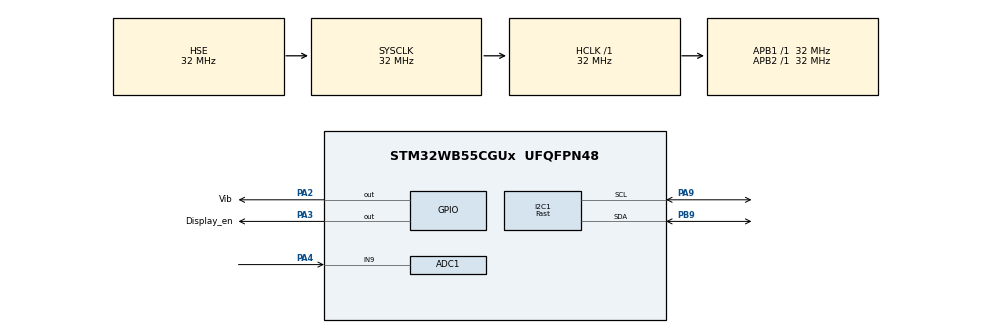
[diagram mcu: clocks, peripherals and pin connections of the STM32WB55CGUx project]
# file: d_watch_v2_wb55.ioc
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ADC1.Channel-0\#ChannelRegularConversion=ADC_CHANNEL_9
ADC1.NbrOfConversionFlag=1
ADC1.OffsetNumber-0\#ChannelRegularConversion=ADC_OFFSET_NONE
ADC1.Rank-0\#ChannelRegularConversion=1
ADC1.SamplingTime-0\#ChannelRegularConversion=ADC_SAMPLETIME_2CYCLES_5
ADC1.master=1
FREERTOS.Tasks01=defaultTask,24,128,StartDefaultTask,Default,NULL,Dynamic,NULL,NULL;SensorsRead,24,512,SensorsRead_Task,Default,NULL,Dynamic,NULL,NULL;ScanBtn,40,256,ScanBtn_Task,Default,NULL,Dynamic,NULL,NULL;Main,8,512,Main_Task,Default,NULL,Dynamic,NULL,NULL
FREERTOS.configTOTAL_HEAP_SIZE=8092
FREERTOS.configUSE_NEWLIB_REENTRANT=1
I2C1.Analog_Filter=I2C_ANALOGFILTER_DISABLE
I2C1.I2C_Speed_Mode=I2C_Fast
I2C1.Timing=0x00301139
IWDG.Prescaler=IWDG_PRESCALER_64
Mcu.Family=STM32WB
Mcu.Name=STM32WB55CGUx
Mcu.Package=UFQFPN48
NVIC.PriorityGroup=NVIC_PRIORITYGROUP_4
NVIC.TIM1_UP_TIM16_IRQn=true\:15\:0\:false\:false\:true\:false\:false\:true\:true
NVIC.TimeBase=TIM1_UP_TIM16_IRQn
NVIC.TimeBaseIP=TIM1
OSC_IN.Mode=HSE-External-Oscillator
OSC_IN.Signal=RCC_OSC_IN
OSC_OUT.Mode=HSE-External-Oscillator
OSC_OUT.Signal=RCC_OSC_OUT
PA13.Mode=Serial_Wire
PA13.Signal=SYS_JTMS-SWDIO
PA14.Mode=Serial_Wire
PA14.Signal=SYS_JTCK-SWCLK
PA2.GPIO_Label=Vib
PA2.Signal=GPIO_Output
PA3.GPIO_Label=Display_en
PA3.Signal=GPIO_Output
PA4.Signal=ADCx_IN9
PA9.Mode=I2C
PA9.Signal=I2C1_SCL
PB9.Mode=I2C
PB9.Signal=I2C1_SDA
PC14-OSC32_IN.Mode=LSE-External-Oscillator
PC14-OSC32_IN.Signal=RCC_OSC32_IN
PC15-OSC32_OUT.Mode=LSE-External-Oscillator
PC15-OSC32_OUT.Signal=RCC_OSC32_OUT
ProjectManager.HeapSize=0x200
ProjectManager.StackSize=0x400
ProjectManager.TargetToolchain=STM32CubeIDE
RCC.ADCFreq_Value=56000000
RCC.AHBFreq_Value=32000000
RCC.APB1Freq_Value=32000000
RCC.APB1TimFreq_Value=32000000
RCC.APB2Freq_Value=32000000
RCC.APB2TimFreq_Value=32000000
RCC.APB3Freq_Value=16000000
RCC.CortexFreq_Value=32000000
RCC.HCLKFreq_Value=32000000
RCC.HSE_VALUE=32000000
RCC.HSI48_VALUE=48000000
RCC.HSI_VALUE=16000000
RCC.PLLM=RCC_PLLM_DIV4
RCC.PLLSAI1N=14
RCC.PLLSourceVirtual=RCC_PLLSOURCE_HSE
RCC.RFWKPClockSelection=RCC_RFWKPCLKSOURCE_LSE
RCC.RTCClockSelection=RCC_RTCCLKSOURCE_LSE
RCC.SMPSCLockSelectionVirtual=RCC_SMPSCLKSOURCE_HSE
RCC.SMPSDivider=4
RCC.SYSCLKFreq_VALUE=32000000
RCC.SYSCLKSource=RCC_SYSCLKSOURCE_HSE
RCC.USBFreq_Value=56000000
RCC.VCOOutputFreq_Value=64000000
SH.ADCx_IN9.0=ADC1_IN9,IN9-Single-Ended
VP_FREERTOS_VS_CMSIS_V2.Mode=CMSIS_V2
VP_IWDG_VS_IWDG.Mode=IWDG_Activate
VP_RTC_VS_RTC_Activate.Mode=RTC_Enabled
VP_SYS_VS_tim1.Mode=TIM1
board=custom

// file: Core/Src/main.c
/* USER CODE BEGIN Header */
/**
  ******************************************************************************
  * @file           : main.c
  * @brief          : Main program body
  ******************************************************************************
  * @attention
  *
  * Copyright (c) 2023 STMicroelectronics.
  * All rights reserved.
  *
  * This software is licensed under terms that can be found in the LICENSE file
  * in the root directory of this software component.
  * If no LICENSE file comes with this software, it is provided AS-IS.
  *
  ******************************************************************************
  */
/* USER CODE END Header */
#include "main.h"
#include "cmsis_os.h"

/* USER CODE BEGIN Includes */
#include "MPR121.h"
#include "lsm303c.h"
#include "ssd1306.h"
#include "ms5837_lib.h"
#include "math.h"
#include "stdio.h"
#include "string.h"
/* USER CODE END Includes */

/* USER CODE BEGIN PTD */
#define BTN_UP		5
#define BTN_DOWN	4
#define BTN_MENU	10
#define BTN_EXIT	3

#define RESET_TIME	20

#define UNDER_WATER_THRESHOLD	0.2

/* Definitions of environment analog values */
  /* Value of analog reference voltage (Vref+), connected to analog voltage   */
  /* supply Vdda (unit: mV).                                                  */
  #define VDDA_APPLI                       (3290UL)
/* USER CODE END PTD */

ADC_HandleTypeDef hadc1;

I2C_HandleTypeDef hi2c1;

IWDG_HandleTypeDef hiwdg;

RTC_HandleTypeDef hrtc;

/* Definitions for defaultTask */
osThreadId_t defaultTaskHandle;
const osThreadAttr_t defaultTask_attributes = {
  .name = "defaultTask",
  .priority = (osPriority_t) osPriorityNormal,
  .stack_size = 128 * 4
};
/* Definitions for SensorsRead */
osThreadId_t SensorsReadHandle;
const osThreadAttr_t SensorsRead_attributes = {
  .name = "SensorsRead",
  .priority = (osPriority_t) osPriorityNormal,
  .stack_size = 512 * 4
};
/* Definitions for ScanBtn */
osThreadId_t ScanBtnHandle;
const osThreadAttr_t ScanBtn_attributes = {
  .name = "ScanBtn",
  .priority = (osPriority_t) osPriorityHigh,
  .stack_size = 256 * 4
};
/* Definitions for Main */
osThreadId_t MainHandle;
const osThreadAttr_t Main_attributes = {
  .name = "Main",
  .priority = (osPriority_t) osPriorityLow,
  .stack_size = 512 * 4
};
/* USER CODE BEGIN PV */
typedef struct {
float lsm303c_chip_tC;
float magneto[3];
float accel[3];
uint16_t azimuth;
char direction[3];
} mag_t;

mag_t mag = {0, {0,0,0}, {0,0,0}, 0};

RTC_TimeTypeDef sfTime;
RTC_DateTypeDef sfDate;
RTC_AlarmTypeDef sAlarm;

float vbat = 0;
uint32_t adc_data = 0;

typedef struct {
bool alarmSet_flag;
bool vibrate_on_flag;
bool sleep_flag;
bool device_on_body;
bool MS5837_is_ok;
bool MAX30102_is_ok;
bool under_water_flag;
bool lsm303_is_ok;
bool end_hrm_measure;
} watch_state_t;

watch_state_t watch_state = {0,0,0,0,0,0,0,0,0};

typedef struct {
float temperature;
float max_temp;
float min_temp;
float pressure;
float depth;
float max_depth;
uint32_t under_water_time;
uint32_t start_time;
uint32_t max_time;
uint32_t dive_counter;
float under_water_threshold;
} water_t;

water_t water = {0,0,0,0,0,0,0,0,0,0,UNDER_WATER_THRESHOLD};

uint16_t mpr121_status = 0;

typedef struct {
	bool UP;
	bool DOWN;
	bool MENU;
	bool EXIT;
}buttons_t;

buttons_t button;

typedef struct {
bool vibro_response;
} watch_setup_t;

watch_setup_t watch_setup = {1};

typedef struct {
uint8_t reset_counter;
uint8_t off_time;
bool off_flag;
uint8_t off_counter;
uint8_t enter_mnu_counter;
uint8_t sleep_counter;
int8_t page;
char buf1[20];
char buf2[20];
} display_t;

display_t display = {0, 40, false, 40, 0, 255, 0};

enum ms5837_status status;

uint8_t sensor_upd_time = 0;
/* USER CODE END PV */

void SystemClock_Config(void);
void PeriphCommonClock_Config(void);
static void MX_GPIO_Init(void);
static void MX_ADC1_Init(void);
static void MX_I2C1_Init(void);
static void MX_RTC_Init(void);
static void MX_IWDG_Init(void);
void StartDefaultTask(void *argument);
void SensorsRead_Task(void *argument);
void ScanBtn_Task(void *argument);
void Main_Task(void *argument);

/* USER CODE BEGIN PFP */
void scan_btn();
void read_ms5837(void);
void Vibrate(uint8_t times);
void display_off(void);
void display_on(void);
void setupTime(bool alarm);
void menu(void);
void show_bat_status(void);
/* USER CODE END PFP */

/* USER CODE BEGIN 0 */

void scan_btn() {
	MPR121_updateAll();
	if (MPR121_isNewTouch(BTN_UP))  {
		if(watch_setup.vibro_response) Vibrate(1);
		button.UP = true;
	}
	else button.UP = false;

	if (MPR121_isNewTouch(BTN_DOWN))  {
		if(watch_setup.vibro_response) Vibrate(1);
		button.DOWN = true;
	}
	else button.DOWN = false;

	if (MPR121_isNewTouch(BTN_MENU))  {
		if(watch_setup.vibro_response) Vibrate(1);
		button.MENU = true;
	}
	else button.MENU = false;

	if (MPR121_isNewTouch(BTN_EXIT))  {
		if(watch_setup.vibro_response) Vibrate(1);
		button.EXIT = true;
	}
	else button.EXIT = false;

}

void read_ms5837(void) {
	ms5837_reset();
	status = ms5837_read_temperature_and_pressure(&water.temperature, &water.pressure);
	water.depth = MS5837_depth(water.pressure);

	if (water.temperature > water.max_temp)  water.max_temp = water.temperature;
	if (water.temperature < water.min_temp)  water.min_temp = water.temperature;

	if (water.depth > water.under_water_threshold) {
		if (!watch_state.under_water_flag) water.start_time = HAL_GetTick();
		water.under_water_time = HAL_GetTick() - water.start_time;
		if (water.depth > water.max_depth) water.max_depth = water.depth;
		watch_state.under_water_flag = true;
	}
	else  {
		if ( watch_state.under_water_flag) water.dive_counter++;
		water.under_water_time = 0;
		watch_state.under_water_flag = false;
	}

	if (water.under_water_time > water.max_time) water.max_time = water.under_water_time;
}

void Vibrate(uint8_t times)
{
	for(uint8_t i=0; i < times; i++)
	{
		HAL_GPIO_WritePin(Vib_GPIO_Port, Vib_Pin, GPIO_PIN_SET);
		osDelay(100);
		//HAL_Delay(100);
		HAL_GPIO_WritePin(Vib_GPIO_Port, Vib_Pin, GPIO_PIN_RESET);
		//HAL_Delay(100);
		osDelay(200);
	}
}

void display_off(void) {
	//HAL_GPIO_WritePin(GPIOA, GPIO_PIN_3, GPIO_PIN_RESET);
	ssd1306_SetDisplayOn(0);
	//ssd1306_Fill(Black);
	//ssd1306_UpdateScreen();
	display.off_flag = true;
}

void display_on(void) {
	//HAL_GPIO_WritePin(GPIOA, GPIO_PIN_3, GPIO_PIN_SET);
	//HAL_Delay(10);
	//ssd1306_Init();
	//ssd1306_SetContrast(255);
	ssd1306_SetDisplayOn(1);
	display.off_flag = false;
}

void setupTime(bool alarm) {
  char time[16];
  uint8_t  pos = 0, space = 0, tmpTime[3] = {sfTime.Hours, sfTime.Minutes, sfTime.Seconds};
  ssd1306_Fill(Black);
  ssd1306_UpdateScreen();
  while (1) {
    osDelay(200);
    if (button.EXIT) {
      osDelay(300);
      return;
    }

    if (button.UP) {
      tmpTime[pos]++;
      if (tmpTime[0] > 23) tmpTime[0] = 0;
      if (tmpTime[1] > 60) tmpTime[1] = 0;
      if (tmpTime[2] > 60) tmpTime[2] = 0;
      else space = 0;
      ssd1306_Fill(Black);
      ssd1306_UpdateScreen();
      osDelay(20);
    }

    if (button.DOWN) {
      tmpTime[pos]--;
      if (tmpTime[0] > 23) tmpTime[0] = 0;
      if (tmpTime[1] > 60) tmpTime[1] = 0;
      if (tmpTime[2] > 60) tmpTime[2] = 0;
      ssd1306_Fill(Black);
      ssd1306_UpdateScreen();
      osDelay(20);
    }

    if (button.MENU) {
      pos++;
      if (pos > 3) pos = 0;
      ssd1306_Fill(Black);
      ssd1306_UpdateScreen();
    }

    sprintf(time, "%02d:%02d:%02d", tmpTime[0], tmpTime[1], tmpTime[2]);
    ssd1306_SetCursor(0, 20);
    ssd1306_WriteString(time, Font_11x18, White);
    ssd1306_SetCursor(0, 40);
    ssd1306_WriteString("Set?", Font_11x18, White);

    if (pos == 3) {
    	ssd1306_DrawRectangle(0 , 39 , 50, 59, White);
      if (button.UP) {
       if (alarm) {
    	   sAlarm.Alarm=RTC_ALARM_A;
    	   	sAlarm.AlarmTime.Hours = tmpTime[0];
    	   	sAlarm.AlarmTime.Minutes = tmpTime[1];
    	   	sAlarm.AlarmTime.Seconds = tmpTime[2];
    	   	HAL_RTC_SetAlarm(&hrtc,&sAlarm, RTC_FORMAT_BIN);     // Включаем функцию прерывания
    	   	HAL_RTC_SetAlarm_IT(&hrtc,&sAlarm, RTC_FORMAT_BIN);  // Устанавливаем прерывание

    	    watch_state.alarmSet_flag = true;
    	     return;
        }
        else {

        		sfTime.Hours = tmpTime[0];
        	  sfTime.Minutes = tmpTime[1];
        	  sfTime.Seconds = tmpTime[2];
        	  sfTime.SubSeconds = 0x0;
        	  sfTime.DayLightSaving = RTC_DAYLIGHTSAVING_NONE;
        	  sfTime.StoreOperation = RTC_STOREOPERATION_SET;
        	  if (HAL_RTC_SetTime(&hrtc, &sfTime, RTC_FORMAT_BIN) != HAL_OK)
        	  {
        	    Error_Handler();
        	  }
        	return;
        }
      }
    }
    else ssd1306_DrawRectangle(0 + pos * 31, 19 , 24 + pos * 31, 38, White);
    ssd1306_UpdateScreen();
  }
}

void menu(void) {
  uint8_t screen = 0, menu_cnt = 0;
  int8_t pos = 0;
  bool item[15] = {0, 0, 0, 0, 0, 0, 0, 0, 0, 0, 0, 0, 0, 0, 0};
  ssd1306_Fill(Black);
  ssd1306_UpdateScreen();
  if (button.MENU) osDelay(300);

  while (1) {

    if (button.EXIT) return;

    if (watch_state.under_water_flag) return;

    memset(display.buf1, 0, sizeof(display.buf1));
    memset(display.buf2, 0, sizeof(display.buf2));

    ssd1306_SetCursor(20, 0);
    sprintf(display.buf1, "Menu %d %d %d", screen, pos, menu_cnt);
    ssd1306_WriteString(display.buf1, Font_7x10, White);

    if (button.UP) {
		  pos--;
		  if (pos < 0) {
			  if (screen > 0) {
				  screen--;
				  pos = 4;
			  }

		  }
		  if ((screen == 0) & (pos < 0)) pos = 0;
		  menu_cnt--;
		  ssd1306_Fill(Black);
		  ssd1306_UpdateScreen();
		  osDelay(50);
    }
    if (button.DOWN) {
		  pos++;
		  if (pos > 4) {
			  screen++;
			  pos = 0;
		  }
		  menu_cnt++;
		  ssd1306_Fill(Black);
		  ssd1306_UpdateScreen();
		  osDelay(50);
    }

    if (menu_cnt > 15) menu_cnt = 15;

    if (screen > 3) screen = 3;

    if (button.MENU) {
      item[menu_cnt] = !item[menu_cnt];
      ssd1306_Fill(Black);
      ssd1306_UpdateScreen();
      memset(display.buf1, 0, sizeof(display.buf1));
      memset(display.buf2, 0, sizeof(display.buf2));
    }

    switch (screen)
	{
    case 0:
			ssd1306_SetCursor(1, 17);
			ssd1306_WriteString("Setup time", Font_7x10, White);
			ssd1306_SetCursor(100, 17);
			if (item[0]) {
			  setupTime(false);
			  ssd1306_Fill(Black);
			  ssd1306_UpdateScreen();
			  item[0] = 0;
			}

			ssd1306_SetCursor(1, 26);
			ssd1306_WriteString("Setup alarm", Font_7x10, White);
			ssd1306_SetCursor(100, 26);
			if (item[1]) {
			  setupTime(true);
			  ssd1306_Fill(Black);
			  ssd1306_UpdateScreen();
			  item[1] = 0;
			}

			ssd1306_SetCursor(1, 35);
			ssd1306_WriteString("Dim display", Font_7x10, White);
			ssd1306_SetCursor(100, 35);
			if (item[2]) {
				ssd1306_WriteString("Yes", Font_7x10, White);
				ssd1306_SetContrast(10);
				//display_dim_flag = false;
			}
			else {
				ssd1306_WriteString("No", Font_7x10, White);
				ssd1306_SetContrast(250);
			  //display_dim_flag = true;
			}

			ssd1306_SetCursor(1, 44);
			ssd1306_WriteString("Disp off T", Font_7x10, White);
			ssd1306_SetCursor(100, 44);
			sprintf(display.buf2, "%d", display.off_time);
			ssd1306_WriteString(display.buf2, Font_7x10, White);

			if (item[3]) {
			  display.off_time += 10;
			  if (display.off_time > 60) display.off_time = 0;
			  ssd1306_Fill(Black);
			  ssd1306_UpdateScreen();
			  item[3] = !item[3];
			}

			ssd1306_SetCursor(1, 53);
			ssd1306_WriteString("Sensors upd", Font_7x10, White);
			ssd1306_SetCursor(100, 53);
			sprintf(display.buf1, "%d", sensor_upd_time);
			ssd1306_WriteString(display.buf1, Font_7x10, White);
			if (item[4]) {
				sensor_upd_time += 5;
				if (sensor_upd_time > 60 ) sensor_upd_time = 1;
				ssd1306_Fill(Black);
				ssd1306_UpdateScreen();
			  item[4] = !item[4];
			}
			break;
    case 1:
    		ssd1306_SetCursor(1, 17);
    		ssd1306_WriteString("System reset", Font_7x10, White);
    		ssd1306_SetCursor(100, 17);
    		if (item[5]) {
    				  ssd1306_WriteString("Yes?", Font_7x10, White);
    				  ssd1306_Fill(Black);
    				  ssd1306_UpdateScreen();
    				  if (button.MENU) NVIC_SystemReset();
    				  //item[5] = !item[5];
    				}
    		ssd1306_SetCursor(1, 26);
    		ssd1306_WriteString("HW info", Font_7x10, White);
    		ssd1306_SetCursor(100, 26);
    		if (item[6]) {
						ssd1306_Fill(Black);
						ssd1306_UpdateScreen();
						ssd1306_SetCursor(1, 17);
						sprintf(display.buf1, "Vbat %2.3f", vbat);
						ssd1306_WriteString(display.buf1, Font_7x10, White);
    				}

    case 2:
        		ssd1306_SetCursor(1, 17);
        		ssd1306_WriteString("Radio", Font_7x10, White);
        		ssd1306_SetCursor(100, 17);
        		ssd1306_WriteString("Off", Font_7x10, White);
        		if (item[7]) {
        				ssd1306_Fill(Black);
        			    ssd1306_UpdateScreen();
        				ssd1306_WriteString("On", Font_7x10, White);

        				item[7] = !item[7];
        				}

    	break;
    default: break;
	}

    ssd1306_DrawRectangle(0, 16 + (pos * 9), 127, 26 + (pos * 9), White);
    ssd1306_UpdateScreen();
    osDelay(200);

  }
}

void show_bat_status(void) {
	uint8_t percent = (vbat - 3.2) * 100;
	if (percent > 100) percent = 100;
	ssd1306_DrawRectangle(100,0,127,10, White);
	for (uint i = 0; i < percent / 4; i++) {
		ssd1306_Line(126 - i, 0, 126 - i, 10, White);
	}

}

/* USER CODE END 0 */

int main(void)
{

  /* MCU Configuration--------------------------------------------------------*/

  /* Reset of all peripherals, Initializes the Flash interface and the Systick. */
  HAL_Init();

  /* Configure the system clock */
  SystemClock_Config();

/* Configure the peripherals common clocks */
  PeriphCommonClock_Config();

  /* Initialize all configured peripherals */
  MX_GPIO_Init();
  MX_ADC1_Init();
  MX_I2C1_Init();
  MX_RTC_Init();
  MX_IWDG_Init();
  /* USER CODE BEGIN 2 */
  HAL_GPIO_WritePin(Display_en_GPIO_Port, Display_en_Pin, GPIO_PIN_SET);
   	  ssd1306_Init();
   	  ssd1306_SetContrast(255);
       ssd1306_SetCursor(0, 0);
       ssd1306_WriteString("Display Ok", Font_7x10, White);
       ssd1306_UpdateScreen();

       ssd1306_SetCursor(0, 19);
           if(LSM303C_init()) {
           	 watch_state.lsm303_is_ok = true;
           	ssd1306_WriteString("LSM303 Ok", Font_7x10, White);
           }
           else ssd1306_WriteString("LSM303 init fail!", Font_7x10, White);

           ssd1306_SetCursor(0, 30);
           if (MPR121_begin(&hi2c1, 20, 10)){
               MPR121_setFFI(FFI_10);
               MPR121_setSFI(SFI_10);
               MPR121_setGlobalCDT(CDT_4US);  // reasonable for larger capacitances
               MPR121_autoSetElectrodeCDC_all();
               ssd1306_WriteString("MPR121 Ok", Font_7x10, White);
             	}
            else ssd1306_WriteString("MP121 init fail!", Font_7x10, White);

           ms5837_Port_Init(&hi2c1);
          	ssd1306_SetCursor(0, 52);
          	if (ms5837_is_connected() == HAL_OK) {
          		  ssd1306_WriteString("MS5837 Ok", Font_7x10, White);
          		  watch_state.MS5837_is_ok = true;
          		  read_ms5837();
          		  MS5837_set_atm_pressure(water.pressure);
          		  status = ms5837_read_temperature_and_pressure(&water.temperature, &water.pressure);
          		  water.min_temp = water.temperature;
          	  }
          	else ssd1306_WriteString("MS5837 Fail!", Font_7x10, White);

           ssd1306_UpdateScreen();

           /* Perform ADC calibration */
           	   if (HAL_ADCEx_Calibration_Start(&hadc1, ADC_SINGLE_ENDED) != HAL_OK)
           	   {
           	     /* Calibration Error */
           	     Error_Handler();
           	   }

           HAL_Delay(1000);
  /* USER CODE END 2 */

  /* Init scheduler */
  osKernelInitialize();

  /* Create the thread(s) */
  /* creation of defaultTask */
  defaultTaskHandle = osThreadNew(StartDefaultTask, NULL, &defaultTask_attributes);

  /* creation of SensorsRead */
  SensorsReadHandle = osThreadNew(SensorsRead_Task, NULL, &SensorsRead_attributes);

  /* creation of ScanBtn */
  ScanBtnHandle = osThreadNew(ScanBtn_Task, NULL, &ScanBtn_attributes);

  /* creation of Main */
  MainHandle = osThreadNew(Main_Task, NULL, &Main_attributes);

  /* Start scheduler */
  osKernelStart();
  /* We should never get here as control is now taken by the scheduler */
  /* Infinite loop */
  while (1)
  {

  }
}

void SystemClock_Config(void)
{
  RCC_OscInitTypeDef RCC_OscInitStruct = {0};
  RCC_ClkInitTypeDef RCC_ClkInitStruct = {0};

  /** Macro to configure the PLL multiplication factor
  */
  __HAL_RCC_PLL_PLLM_CONFIG(RCC_PLLM_DIV4);

  /** Macro to configure the PLL clock source
  */
  __HAL_RCC_PLL_PLLSOURCE_CONFIG(RCC_PLLSOURCE_HSE);

  /** Configure LSE Drive Capability
  */
  HAL_PWR_EnableBkUpAccess();
  __HAL_RCC_LSEDRIVE_CONFIG(RCC_LSEDRIVE_MEDIUMHIGH);

  /** Configure the main internal regulator output voltage
  */
  __HAL_PWR_VOLTAGESCALING_CONFIG(PWR_REGULATOR_VOLTAGE_SCALE1);

  /** Initializes the RCC Oscillators according to the specified parameters
  * in the RCC_OscInitTypeDef structure.
  */
  RCC_OscInitStruct.OscillatorType = RCC_OSCILLATORTYPE_HSI|RCC_OSCILLATORTYPE_LSI1
                              |RCC_OSCILLATORTYPE_HSE|RCC_OSCILLATORTYPE_LSE;
  RCC_OscInitStruct.HSEState = RCC_HSE_ON;
  RCC_OscInitStruct.LSEState = RCC_LSE_ON;
  RCC_OscInitStruct.HSIState = RCC_HSI_ON;
  RCC_OscInitStruct.HSICalibrationValue = RCC_HSICALIBRATION_DEFAULT;
  RCC_OscInitStruct.LSIState = RCC_LSI_ON;
  RCC_OscInitStruct.PLL.PLLState = RCC_PLL_NONE;
  if (HAL_RCC_OscConfig(&RCC_OscInitStruct) != HAL_OK)
  {
    Error_Handler();
  }

  /** Configure the SYSCLKSource, HCLK, PCLK1 and PCLK2 clocks dividers
  */
  RCC_ClkInitStruct.ClockType = RCC_CLOCKTYPE_HCLK4|RCC_CLOCKTYPE_HCLK2
                              |RCC_CLOCKTYPE_HCLK|RCC_CLOCKTYPE_SYSCLK
                              |RCC_CLOCKTYPE_PCLK1|RCC_CLOCKTYPE_PCLK2;
  RCC_ClkInitStruct.SYSCLKSource = RCC_SYSCLKSOURCE_HSE;
  RCC_ClkInitStruct.AHBCLKDivider = RCC_SYSCLK_DIV1;
  RCC_ClkInitStruct.APB1CLKDivider = RCC_HCLK_DIV1;
  RCC_ClkInitStruct.APB2CLKDivider = RCC_HCLK_DIV1;
  RCC_ClkInitStruct.AHBCLK2Divider = RCC_SYSCLK_DIV1;
  RCC_ClkInitStruct.AHBCLK4Divider = RCC_SYSCLK_DIV1;

  if (HAL_RCC_ClockConfig(&RCC_ClkInitStruct, FLASH_LATENCY_1) != HAL_OK)
  {
    Error_Handler();
  }
}

void PeriphCommonClock_Config(void)
{
  RCC_PeriphCLKInitTypeDef PeriphClkInitStruct = {0};

  /** Initializes the peripherals clock
  */
  PeriphClkInitStruct.PeriphClockSelection = RCC_PERIPHCLK_SMPS;
  PeriphClkInitStruct.SmpsClockSelection = RCC_SMPSCLKSOURCE_HSE;
  PeriphClkInitStruct.SmpsDivSelection = RCC_SMPSCLKDIV_RANGE1;

  if (HAL_RCCEx_PeriphCLKConfig(&PeriphClkInitStruct) != HAL_OK)
  {
    Error_Handler();
  }
}

static void MX_ADC1_Init(void)
{

  ADC_ChannelConfTypeDef sConfig = {0};

  /** Common config
  */
  hadc1.Instance = ADC1;
  hadc1.Init.ClockPrescaler = ADC_CLOCK_ASYNC_DIV1;
  hadc1.Init.Resolution = ADC_RESOLUTION_12B;
  hadc1.Init.DataAlign = ADC_DATAALIGN_RIGHT;
  hadc1.Init.ScanConvMode = ADC_SCAN_DISABLE;
  hadc1.Init.EOCSelection = ADC_EOC_SINGLE_CONV;
  hadc1.Init.LowPowerAutoWait = DISABLE;
  hadc1.Init.ContinuousConvMode = DISABLE;
  hadc1.Init.NbrOfConversion = 1;
  hadc1.Init.DiscontinuousConvMode = DISABLE;
  hadc1.Init.ExternalTrigConv = ADC_SOFTWARE_START;
  hadc1.Init.ExternalTrigConvEdge = ADC_EXTERNALTRIGCONVEDGE_NONE;
  hadc1.Init.DMAContinuousRequests = DISABLE;
  hadc1.Init.Overrun = ADC_OVR_DATA_PRESERVED;
  hadc1.Init.OversamplingMode = DISABLE;
  if (HAL_ADC_Init(&hadc1) != HAL_OK)
  {
    Error_Handler();
  }

  /** Configure Regular Channel
  */
  sConfig.Channel = ADC_CHANNEL_9;
  sConfig.Rank = ADC_REGULAR_RANK_1;
  sConfig.SamplingTime = ADC_SAMPLETIME_2CYCLES_5;
  sConfig.SingleDiff = ADC_SINGLE_ENDED;
  sConfig.OffsetNumber = ADC_OFFSET_NONE;
  sConfig.Offset = 0;
  if (HAL_ADC_ConfigChannel(&hadc1, &sConfig) != HAL_OK)
  {
    Error_Handler();
  }

}

static void MX_I2C1_Init(void)
{

  hi2c1.Instance = I2C1;
  hi2c1.Init.Timing = 0x00301139;
  hi2c1.Init.OwnAddress1 = 0;
  hi2c1.Init.AddressingMode = I2C_ADDRESSINGMODE_7BIT;
  hi2c1.Init.DualAddressMode = I2C_DUALADDRESS_DISABLE;
  hi2c1.Init.OwnAddress2 = 0;
  hi2c1.Init.OwnAddress2Masks = I2C_OA2_NOMASK;
  hi2c1.Init.GeneralCallMode = I2C_GENERALCALL_DISABLE;
  hi2c1.Init.NoStretchMode = I2C_NOSTRETCH_DISABLE;
  if (HAL_I2C_Init(&hi2c1) != HAL_OK)
  {
    Error_Handler();
  }

  /** Configure Analogue filter
  */
  if (HAL_I2CEx_ConfigAnalogFilter(&hi2c1, I2C_ANALOGFILTER_DISABLE) != HAL_OK)
  {
    Error_Handler();
  }

  /** Configure Digital filter
  */
  if (HAL_I2CEx_ConfigDigitalFilter(&hi2c1, 0) != HAL_OK)
  {
    Error_Handler();
  }

}

static void MX_IWDG_Init(void)
{

  hiwdg.Instance = IWDG;
  hiwdg.Init.Prescaler = IWDG_PRESCALER_64;
  hiwdg.Init.Window = 4095;
  hiwdg.Init.Reload = 4095;
  if (HAL_IWDG_Init(&hiwdg) != HAL_OK)
  {
    Error_Handler();
  }

}

static void MX_RTC_Init(void)
{

  /** Initialize RTC Only
  */
  hrtc.Instance = RTC;
  hrtc.Init.HourFormat = RTC_HOURFORMAT_24;
  hrtc.Init.AsynchPrediv = 127;
  hrtc.Init.SynchPrediv = 255;
  hrtc.Init.OutPut = RTC_OUTPUT_DISABLE;
  hrtc.Init.OutPutPolarity = RTC_OUTPUT_POLARITY_HIGH;
  hrtc.Init.OutPutType = RTC_OUTPUT_TYPE_OPENDRAIN;
  hrtc.Init.OutPutRemap = RTC_OUTPUT_REMAP_NONE;
  if (HAL_RTC_Init(&hrtc) != HAL_OK)
  {
    Error_Handler();
  }

}

static void MX_GPIO_Init(void)
{
  GPIO_InitTypeDef GPIO_InitStruct = {0};

  /* GPIO Ports Clock Enable */
  __HAL_RCC_GPIOC_CLK_ENABLE();
  __HAL_RCC_GPIOB_CLK_ENABLE();
  __HAL_RCC_GPIOA_CLK_ENABLE();

  /*Configure GPIO pin Output Level */
  HAL_GPIO_WritePin(GPIOA, Vib_Pin|Display_en_Pin, GPIO_PIN_RESET);

  /*Configure GPIO pins : Vib_Pin Display_en_Pin */
  GPIO_InitStruct.Pin = Vib_Pin|Display_en_Pin;
  GPIO_InitStruct.Mode = GPIO_MODE_OUTPUT_PP;
  GPIO_InitStruct.Pull = GPIO_NOPULL;
  GPIO_InitStruct.Speed = GPIO_SPEED_FREQ_LOW;
  HAL_GPIO_Init(GPIOA, &GPIO_InitStruct);

}

void StartDefaultTask(void *argument)
{
  for(;;)
  {
    osDelay(1);
  }
}

void SensorsRead_Task(void *argument)
{
  /* USER CODE BEGIN SensorsRead_Task */
  /* Infinite loop */
  for(;;)
  {
	  if (!display.off_flag) {
	  			  taskENTER_CRITICAL();
	  			  /* Start ADC group regular conversion */
	  			  if (HAL_ADC_Start(&hadc1) != HAL_OK)
	  				  {
	  				  /* Error: ADC conversion start could not be performed */
	  					  Error_Handler();
	  				  }
	  			  HAL_ADC_PollForConversion(&hadc1,100);
	  			  adc_data =  HAL_ADC_GetValue(&hadc1);
	  			  HAL_ADC_Stop(&hadc1);
	  			  vbat = ((adc_data * 0.8) * 8.5) / 1000;
	  			  taskEXIT_CRITICAL();

	  			  mag.azimuth = LSM303C_getAzimuth();

	  			  mag.accel[0] = LSM303C_readAccelX();
	  			  mag.accel[1] = LSM303C_readAccelY();
	  			  mag.accel[2] = LSM303C_readAccelZ();

	  			  mag.magneto[0] = LSM303C_readMagX();
	  			  mag.magneto[1] = LSM303C_readMagY();
	  			  mag.magneto[2] = LSM303C_readMagZ();

	  			  mag.lsm303c_chip_tC = LSM303C_readTempC();

	  	}

	  	read_ms5837();

	      osDelay(1000);
  }
  /* USER CODE END SensorsRead_Task */
}

void ScanBtn_Task(void *argument)
{
  /* USER CODE BEGIN ScanBtn_Task */
  /* Infinite loop */
  for(;;)
  {
	  HAL_IWDG_Refresh(&hiwdg);
	  scan_btn();
	  osDelay(300);
  }
  /* USER CODE END ScanBtn_Task */
}

void Main_Task(void *argument)
{
  /* USER CODE BEGIN Main_Task */
  /* Infinite loop */
  for(;;)
  {
	  display.off_counter--;
	  	  memset(display.buf1, 0, sizeof(display.buf1));
	  	  memset(display.buf2, 0, sizeof(display.buf2));
	  	  	  	if (display.off_counter == 0) {
	  	  	  		display_off();
	  	  	  		display.sleep_counter--;
	  	  	  	}
	  	  	  	if (!display.sleep_counter)  watch_state.sleep_flag=true;

	  	  	  	ssd1306_Fill(Black);
	  	  	  	if (!display.off_flag)show_bat_status();

	  	  	  	if ((button.UP || button.DOWN || button.MENU || button.EXIT) & display.off_flag)
	  	  	  		  	  		  			{
	  	  	  								display_on();

	  	  	  		  	  		  			display.off_counter = display.off_time;
	  	  	  		  	  		  			display.sleep_counter = 255;
	  	  	  		  	  		  			}
	  	  	  	if (button.MENU) {
	  	  	  		menu();//enter_mnu_counter++
	  	  	  	}
	  	  	  	//else enter_mnu_counter = 0;
	  	  	  	//if (enter_mnu_counter == 10) menu();

	  	  	  	if ( watch_state.alarmSet_flag) {
	  	  	  						ssd1306_SetCursor(90, 0);
	  	  	  						ssd1306_WriteString("*", Font_7x10, White);
	  	  	  					}

	  	  	  	if (button.DOWN & !display.off_flag) {
	  	  	  		display.page++;
	  	  	  		osDelay(100);
	  	  	  	}
	  	  	  	if (button.UP & !display.off_flag) {
	  	  	  		display.page--;
	  	  	  		osDelay(100);
	  	  	  	}

	  	  	  	if (display.page > 7) display.page = 7;
	  	  	  	if (display.page < 0) display.page = 0;

	  	  	  	if (button.MENU & button.EXIT) display.reset_counter++;
	  	  	  	else display.reset_counter = 0;
	  	  	  	if (display.reset_counter >= RESET_TIME) NVIC_SystemReset();

	  	  	  	HAL_RTC_GetTime(&hrtc, &sfTime, RTC_FORMAT_BIN); // RTC_FORMAT_BIN , RTC_FORMAT_BCD
	  	  	  	HAL_RTC_GetDate(&hrtc, &sfDate, RTC_FORMAT_BIN);

	  	  	  	if (!display.page &  watch_state.under_water_flag) {
	  	  	  		if (display.off_flag) display_on();
	  	  	  		display.page = 1;
	  	  	  	}

	  	  	  	switch (display.page)
	  	  	{

	  	  	  	case 0:

	  	  				ssd1306_SetCursor(0, 20);
	  	  				sprintf(display.buf2, "%02d:%02d:%02d", sfTime.Hours, sfTime.Minutes, sfTime.Seconds);
	  	  				ssd1306_WriteString(display.buf2, Font_16x26, White);
	  	  				ssd1306_SetCursor(2, 0);
	  	  				sprintf(display.buf1, "%2.1f ", water.temperature);
	  	  				ssd1306_WriteString(display.buf1, Font_7x10, White);
	  	  				sprintf(display.buf1, "%4.1f ", water.pressure / 1.333);
	  	  				ssd1306_WriteString(display.buf1, Font_7x10, White);

	  	  				ssd1306_SetCursor(0, 50);
	  	  				sprintf(display.buf1, "%02d-%02d-%d", sfDate.Date, sfDate.Month, sfDate.Year);
	  	  				ssd1306_WriteString(display.buf1, Font_7x10, White);
	  	  				switch (sfDate.WeekDay) {
	  	  				case 1: ssd1306_WriteString("  Monday", Font_7x10, White); break;
	  	  				case 2: ssd1306_WriteString("  Tuesday", Font_7x10, White); break;
	  	  				case 3: ssd1306_WriteString("  Wednesday", Font_7x10, White); break;
	  	  				case 4: ssd1306_WriteString("  Thursday", Font_7x10, White); break;
	  	  				case 5: ssd1306_WriteString("  Friday", Font_7x10, White); break;
	  	  				case 6: ssd1306_WriteString("  Saturday", Font_7x10, White); break;
	  	  				case 7: ssd1306_WriteString("  Sunday", Font_7x10, White); break;
	  	  				default: break;
	  	  				}

	  	  				break;
	  	  	  	case 1:
	  	  	  		ssd1306_SetCursor(0, 0);
	  	  	  		sprintf(display.buf2, "%02d:%02d", sfTime.Hours, sfTime.Minutes);
	  	  	  		ssd1306_WriteString(display.buf2, Font_7x10, White);
	  	  	  		switch (sfDate.WeekDay) {
	  	  	  		  				case 1: ssd1306_WriteString(" Mo", Font_7x10, White); break;
	  	  	  		  				case 2: ssd1306_WriteString(" Tu", Font_7x10, White); break;
	  	  	  		  				case 3: ssd1306_WriteString(" Wed", Font_7x10, White); break;
	  	  	  		  				case 4: ssd1306_WriteString(" Thu", Font_7x10, White); break;
	  	  	  		  				case 5: ssd1306_WriteString(" Fri", Font_7x10, White); break;
	  	  	  		  				case 6: ssd1306_WriteString(" Sat", Font_7x10, White); break;
	  	  	  		  				case 7: ssd1306_WriteString(" Sun", Font_7x10, White); break;
	  	  	  		  				default: break;
	  	  	  		  				}
	  	  	  		ssd1306_SetCursor(70, 0);
	  	  	  		sprintf(display.buf2, "%d", mag.azimuth);
	  	  	  		ssd1306_WriteString(display.buf2, Font_7x10, White);

	  	  	  		if (water.depth < 10.0) ssd1306_Line(60, 20, 60, 64, White);
	  	  	  		else ssd1306_Line(65, 20, 65, 64, White);

	  	  	  		ssd1306_SetCursor(65, 16);
	  	  	  		ssd1306_WriteString("Water T", Font_7x10, White);
	  	  	  		ssd1306_SetCursor(62, 28);
	  	  	  		if (water.depth < 10.0) sprintf(display.buf2, "%2.1f", water.temperature);
	  	  	  		else sprintf(display.buf2, "%2.0f", water.temperature);
	  	  	  		ssd1306_WriteString(display.buf2, Font_16x26, White);
	  	  	  		ssd1306_SetCursor(62, 54);
	  	  	  		sprintf(display.buf2, "%2.1f %2.1f", water.min_temp, water.max_temp);
	  	  	  		ssd1306_WriteString(display.buf2, Font_7x10, White);

	  	  	  		ssd1306_SetCursor(0, 28);
	  	  	  		if (water.depth >= 0) sprintf(display.buf1, "%1.1f", water.depth);
	  	  	  		ssd1306_WriteString(display.buf1, Font_16x26, White);
	  	  	  		ssd1306_SetCursor(0, 16);
	  	  	  		sprintf(display.buf2, "Deep %1.1f", water.max_depth);
	  	  	  		ssd1306_WriteString(display.buf2, Font_7x10, White);
	  	  	  		ssd1306_SetCursor(0, 54);
	  	  	  		sprintf(display.buf2, "%lu", water.under_water_time /1000);
	  	  	  		ssd1306_WriteString(display.buf2, Font_7x10, White);
	  	  	  		ssd1306_SetCursor(30, 54);
	  	  	  		sprintf(display.buf2, "%lu", water.max_time /1000);
	  	  	  		ssd1306_WriteString(display.buf2, Font_7x10, White);

	  	  	  		display.off_counter++;

	  	  	  			break;
	  	  	  	case 2:
	  	  	  		ssd1306_SetCursor(0, 0);
	  	  	  		sprintf(display.buf2, "%02d:%02d %d", sfTime.Hours, sfTime.Minutes, mag.azimuth);
	  	  	  		ssd1306_WriteString(display.buf2, Font_7x10, White);
	  	  	  		switch (sfDate.WeekDay) {
	  	  	  		  	  		  				case 1: ssd1306_WriteString("  Mo", Font_7x10, White); break;
	  	  	  		  	  		  				case 2: ssd1306_WriteString("  Tu", Font_7x10, White); break;
	  	  	  		  	  		  				case 3: ssd1306_WriteString("  Wed", Font_7x10, White); break;
	  	  	  		  	  		  				case 4: ssd1306_WriteString("  Thu", Font_7x10, White); break;
	  	  	  		  	  		  				case 5: ssd1306_WriteString("  Fri", Font_7x10, White); break;
	  	  	  		  	  		  				case 6: ssd1306_WriteString("  Sat", Font_7x10, White); break;
	  	  	  		  	  		  				case 7: ssd1306_WriteString("  Sun", Font_7x10, White); break;
	  	  	  		  	  		  				default: break;
	  	  	  		  	  		  				}
	  	  	  		ssd1306_Line(64, 20, 64, 64, White);
	  	  	  		ssd1306_SetCursor(0, 20);
	  	  	  		sprintf(display.buf2, "Dep %1.1f", MS5837_depth(water.pressure));
	  	  	  		ssd1306_WriteString(display.buf2, Font_7x10, White);
	  	  	  		ssd1306_SetCursor(0, 32);
	  	  	  		sprintf(display.buf2, "Time %lu", water.under_water_time /1000);
	  	  	  		ssd1306_WriteString(display.buf2, Font_7x10, White);
	  	  	  		ssd1306_SetCursor(0, 44);
	  	  	  		sprintf(display.buf2, "To %2.1f", water.temperature);
	  	  	  		ssd1306_WriteString(display.buf2, Font_7x10, White);
	  	  	  		ssd1306_SetCursor(0, 54);
	  	  	  		sprintf(display.buf2, "Dive %lu", water.dive_counter);
	  	  	  		ssd1306_WriteString(display.buf2, Font_7x10, White);

	  	  	  		display.off_counter++;

	  	  	  			break;
	  	  	  	case 3:
	  	  	  		ssd1306_SetCursor(0, 0);
	  	  	  		sprintf(display.buf2, "%02d:%02d:%02d", sfTime.Hours, sfTime.Minutes, sfTime.Seconds);
	  	  	  		ssd1306_WriteString(display.buf2, Font_7x10, White);
	  	  	  		ssd1306_SetCursor(0, 52);
	  	  	  		ssd1306_WriteString("Depth", Font_7x10, White);
	  	  	  		ssd1306_SetCursor(0, 25);
	  	  	  		sprintf(display.buf2, "%2.3fM", MS5837_depth(water.pressure));
	  	  	  		ssd1306_WriteString(display.buf2, Font_16x26, White);
	  	  	  		display.off_counter++;

	  	  	  		break;
	  	  	  	case 4:
	  	  	  		ssd1306_SetCursor(0, 0);
	  	  	  		sprintf(display.buf2, "%02d:%02d:%02d", sfTime.Hours, sfTime.Minutes, sfTime.Seconds);
	  	  	  		ssd1306_WriteString(display.buf2, Font_7x10, White);
	  	  	  		watch_state.end_hrm_measure = true;
	  	  	  		ssd1306_SetCursor(0, 52);
	  	  	  		ssd1306_WriteString("Pressure   mbar", Font_7x10, White);
	  	  	  		ssd1306_SetCursor(0, 25);
	  	  	  		sprintf(display.buf2, "%4.1f", water.pressure);
	  	  	  		ssd1306_WriteString(display.buf2, Font_16x26, White);
	  	  	  		display.off_counter++;

	  	  	  		break;

	  	  	  	case 5:

	  	  	  		ssd1306_SetCursor(0, 0);
	  	  	  		//ssd1306_WriteString("LSM303C data", Font_7x10, White);
	  	  	  		//ssd1306_SetCursor(0, 12);
	  	  	  		ssd1306_WriteString("Mag    Accel", Font_7x10, White);
	  	  	  		ssd1306_SetCursor(0, 15);
	  	  	  		sprintf(display.buf2, "%3.3f    %3.1f", mag.magneto[0], mag.accel[0]);
	  	  	  		ssd1306_WriteString(display.buf2, Font_7x10, White);
	  	  	  		ssd1306_SetCursor(0,27);
	  	  	  		sprintf(display.buf2, "%3.3f    %3.1f", mag.magneto[1], mag.accel[1]);
	  	  	  		ssd1306_WriteString(display.buf2, Font_7x10, White);
	  	  	  		ssd1306_SetCursor(0,39);
	  	  	  		sprintf(display.buf2, "%3.3f    %3.1f", mag.magneto[2], mag.accel[2]);
	  	  	  		ssd1306_WriteString(display.buf2, Font_7x10, White);
	  	  	  		ssd1306_SetCursor(0,52);
	  	  	  		sprintf(display.buf2, "T chip - %3.1f", mag.lsm303c_chip_tC);
	  	  	  		ssd1306_WriteString(display.buf2, Font_7x10, White);
	  	  	  		display.off_counter++;
	  	  	  		break;

	  	  	  case 6:

	  	  		  	  ssd1306_SetCursor(0, 0);
	  	  		  	  sprintf(display.buf2, "%02d:%02d:%02d", sfTime.Hours, sfTime.Minutes, sfTime.Seconds);
	  	  		  	  ssd1306_WriteString(display.buf2, Font_7x10, White);
	  	  		  	  ssd1306_SetCursor(0, 52);
	  	  			  ssd1306_WriteString("     Compass", Font_7x10, White);
	  	  			  ssd1306_Line(32,32,42,20, White);
	  	  			  mag.azimuth = LSM303C_getAzimuth();
	  	  			  //azimuth = tmp_azimuth + 90;
	  	  			  //if (tmp_azimuth > 270) azimuth = tmp_azimuth - 270;
	  	  			  LSM303C_getDirection(mag.direction, mag.azimuth);
	  	  			  ssd1306_SetCursor(54,15);
	  	  			  sprintf(display.buf2, "Az %d", mag.azimuth);
	  	  			  ssd1306_WriteString(display.buf2, Font_7x10, White);

	  	  			  ssd1306_SetCursor(54,27);
	  	  			  //sprintf(buf2, "maxX %3.3f", max_x);
	  	  			  ssd1306_WriteString(mag.direction, Font_7x10, White);

	  	  			  display.off_counter++;
	  	  	  	  	break;

	  	  	  	default:
	  	  	  			break;

	  	  	}

	  	  	  	if (!display.off_flag) ssd1306_UpdateScreen();

	      osDelay(200);
  }
  /* USER CODE END Main_Task */
}

void HAL_TIM_PeriodElapsedCallback(TIM_HandleTypeDef *htim)
{
  if (htim->Instance == TIM1) {
    HAL_IncTick();
  }
}

void Error_Handler(void)
{
  __disable_irq();
  while (1)
  {
  }
}
